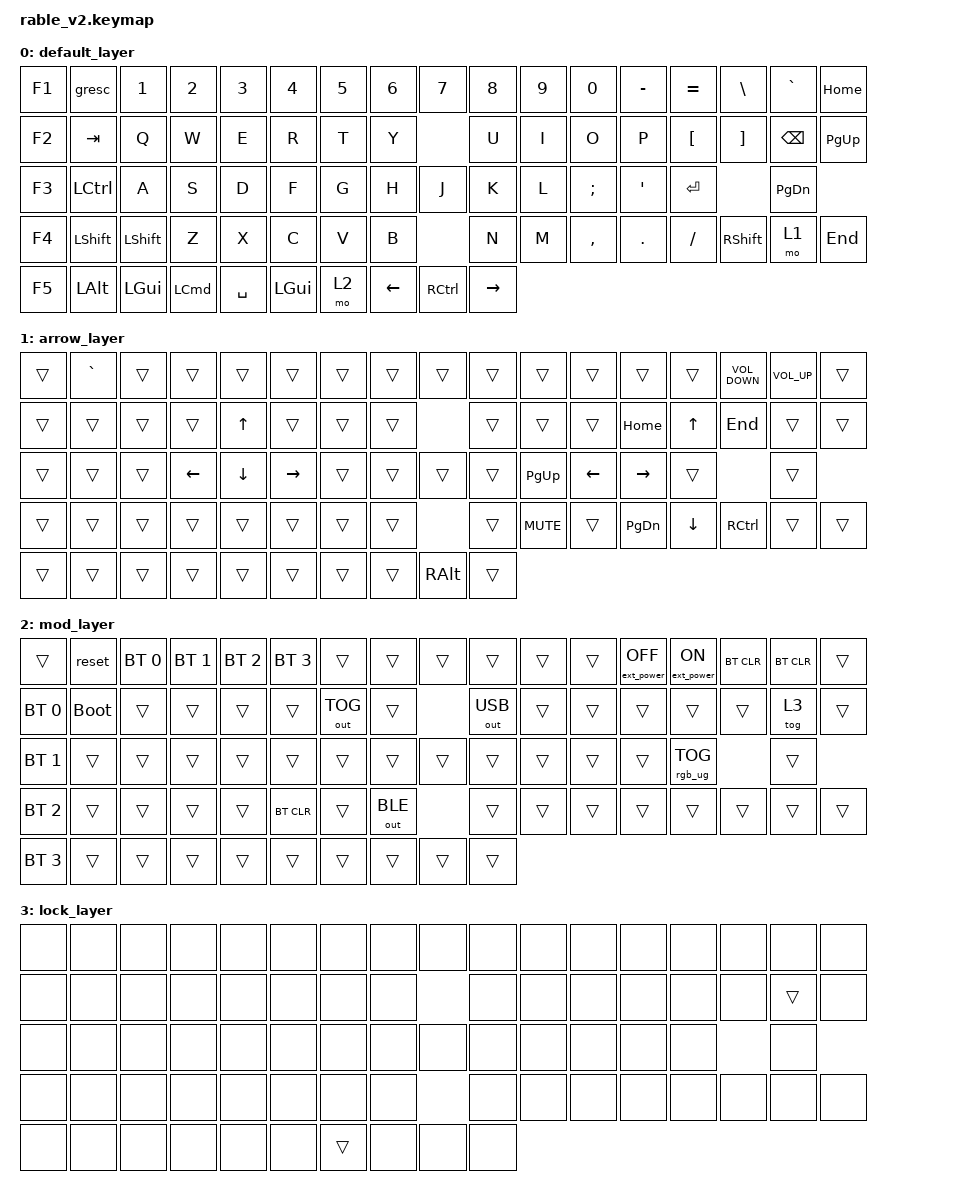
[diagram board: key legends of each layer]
/*
 * Copyright (c) 2021 Nick Winans
 *
 * SPDX-License-Identifier: MIT
 */

#include <behaviors.dtsi>
#include <dt-bindings/zmk/keys.h>
#include <dt-bindings/zmk/bt.h>
#include <dt-bindings/zmk/ext_power.h>
#include <dt-bindings/zmk/outputs.h>
#include <dt-bindings/zmk/rgb.h>

/ {
    keymap {
        compatible = "zmk,keymap";

        default_layer {
            bindings = <
&kp F1        &gresc     &kp N1            &kp N2     &kp N3    &kp N4  &kp N5    &kp N6             &kp N7     &kp N8     &kp N9    &kp N0  &kp MINUS  &kp EQUAL  &kp BACKSLASH  &kp GRAVE  &kp HOME
&kp F2       &kp TAB      &kp Q             &kp W      &kp E     &kp R   &kp T     &kp Y              &kp U      &kp I      &kp O     &kp P   &kp LBKT   &kp RBKT  &kp BACKSPACE  &kp PG_UP
&kp F3     &kp LCTRL      &kp A             &kp S      &kp D     &kp F   &kp G     &kp H              &kp J      &kp K      &kp L  &kp SEMI    &kp SQT    &kp RET      &kp PG_DN
&kp F4     &kp LSHFT  &kp LSHFT             &kp Z      &kp X     &kp C   &kp V     &kp B              &kp N      &kp M  &kp COMMA   &kp DOT   &kp FSLH  &kp RSHFT          &mo 1    &kp END
&kp F5  &kp LEFT_ALT   &kp LGUI  &kp LEFT_COMMAND  &kp SPACE  &kp LGUI   &mo 2  &kp LEFT  &kp RIGHT_CONTROL  &kp RIGHT
            >;
        };

        arrow_layer {
            bindings = <
&trans  &kp GRAVE  &trans    &trans    &trans     &trans  &trans  &trans         &trans      &trans       &trans         &trans     &trans     &trans  &kp C_VOLUME_DOWN  &kp C_VOLUME_UP  &trans
&trans     &trans  &trans    &trans    &kp UP     &trans  &trans  &trans         &trans      &trans       &trans       &kp HOME     &kp UP    &kp END             &trans           &trans
&trans     &trans  &trans  &kp LEFT  &kp DOWN  &kp RIGHT  &trans  &trans         &trans      &trans  &kp PAGE_UP       &kp LEFT  &kp RIGHT     &trans             &trans
&trans     &trans  &trans    &trans    &trans     &trans  &trans  &trans         &trans  &kp C_MUTE       &trans  &kp PAGE_DOWN   &kp DOWN  &kp RCTRL             &trans           &trans
&trans     &trans  &trans    &trans    &trans     &trans  &trans  &trans  &kp RIGHT_ALT      &trans
            >;
        };

        mod_layer {
            bindings = <
      &trans       &reset  &bt BT_SEL 0  &bt BT_SEL 1  &bt BT_SEL 2  &bt BT_SEL 3        &trans        &trans        &trans  &trans  &trans  &trans  &ext_power EP_OFF  &ext_power EP_ON  &bt BT_CLR  &bt BT_CLR  &trans
&bt BT_SEL 0  &bootloader        &trans        &trans        &trans        &trans  &out OUT_TOG        &trans  &out OUT_USB  &trans  &trans  &trans             &trans            &trans      &tog 3      &trans
&bt BT_SEL 1       &trans        &trans        &trans        &trans        &trans        &trans        &trans        &trans  &trans  &trans  &trans             &trans   &rgb_ug RGB_TOG      &trans
&bt BT_SEL 2       &trans        &trans        &trans        &trans    &bt BT_CLR        &trans  &out OUT_BLE        &trans  &trans  &trans  &trans             &trans            &trans      &trans      &trans
&bt BT_SEL 3       &trans        &trans        &trans        &trans        &trans        &trans        &trans        &trans  &trans
            >;
        };

        lock_layer {
            bindings = <
&none  &none  &none  &none  &none  &none   &none  &none  &none  &none  &none  &none  &none  &none   &none  &none  &none
&none  &none  &none  &none  &none  &none   &none  &none  &none  &none  &none  &none  &none  &none  &trans  &none
&none  &none  &none  &none  &none  &none   &none  &none  &none  &none  &none  &none  &none  &none   &none
&none  &none  &none  &none  &none  &none   &none  &none  &none  &none  &none  &none  &none  &none   &none  &none
&none  &none  &none  &none  &none  &none  &trans  &none  &none  &none
            >;
        };
    };
};
